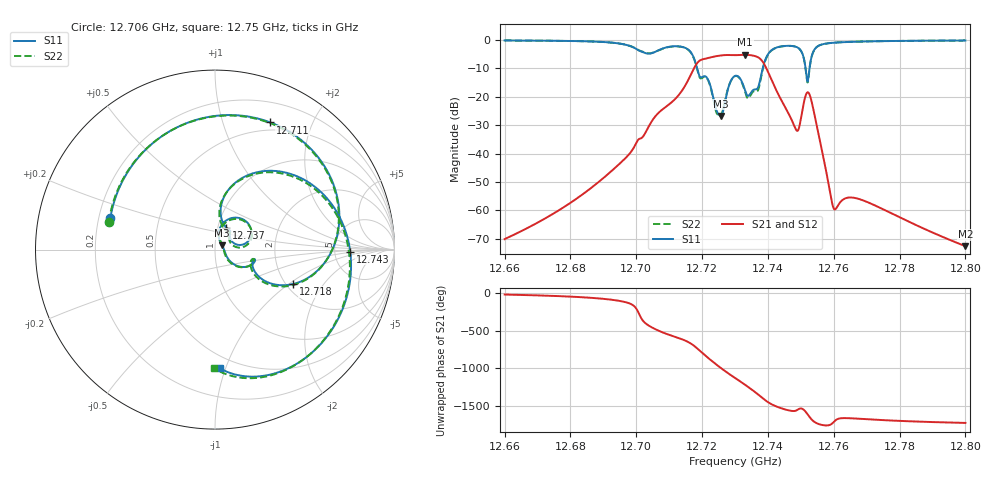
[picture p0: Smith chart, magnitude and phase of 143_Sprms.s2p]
! TOUCHSTONE file generated by CST MICROWAVE STUDIO
! Date and time: Wed Jul 31 18:02:35 2024
! Project name: WaveGuide_BPF-Ver4.1_U-shape_Ku_T3_C4_CWA_2.cst
! Parameters = {cavity_h=16; cavity_l0=10; cavity_l1=15.1994; cavity_l2=16.8686; cavity_l3=17.1122; cavity_l4=17.2451; cavity_l5=17.1239; cavity_l6=17.6385; cavity_r=2.5; cavity_screw_l=0.5; cavity_screw_r=1.5; cavity_w=8; iris_h00=0; iris_h01=8.8075; iris_h112=0; iris_h12=5.5972; iris_h211=3.6642; 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
! Header version: 2018
! Port assignment regex: !\s*Touchstone port\s*([0-9]+)\s*=\s*(CST MWS port|CST DS port)\s*([0-9]+|Zmin|Zmax)\s*\(\"(.*)\"\)(\s*mode\s*([0-9]+))?.*
! Touchstone port assignment:
! Touchstone port 1 = CST MWS port 1 ("")
! Touchstone port 2 = CST MWS port 2 ("")
# GHz S RI R 50
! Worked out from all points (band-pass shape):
!   5001 points, 12.66 GHz to 12.8 GHz, reference 50 ohm
!   highest |S21| = -5.21 dB at 12.733 GHz (marker M1); lowest = -72.6 dB at 12.8 GHz (marker M2)
!   |S21| within 3 dB of the highest: 12.71845 GHz to 12.73872 GHz (20.26 MHz wide, 0.159 % of centre)
!   lowest |S11| = -26.8 dB at 12.726 GHz (marker M3), VSWR 1.10, Z = 54 + j2.55 ohm
!   |S11| at or under -10 dB: 12.71848 GHz to 12.73843 GHz (19.95 MHz wide, 0.157 % of centre); 12.75144 GHz to 12.75263 GHz (1.191 MHz wide, 0.00934 % of centre)
!   |S22| runs from -26.5 to -0.2 dB; largest |S21 - S12| = 1e-09
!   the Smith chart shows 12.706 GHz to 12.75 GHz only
!   S11 on the Smith chart (normalised r, x): 12.706 GHz: 0.25, +0.14; 12.711 GHz: 0.41, +1.44; 12.718 GHz: 2.18, -1.08; 12.737 GHz: 1.10, +0.27; 12.743 GHz: 7.09, -0.38; 12.75 GHz: 0.41, -0.96
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12.66  0.2911 0.9371  0.000289 -0.000116  0.000289 -0.000116  0.3019 0.9336
12.68335  0.7264 0.6165  0.00101 -0.00155  0.00101 -0.00155  0.7378 0.602
12.69492  0.8619 -0.0812  -0.00182 -0.00635  -0.00182 -0.00635  0.8589 -0.1056
12.70057  0.2181 -0.6266  -0.00534 0.0166  -0.00534 0.0166  0.2071 -0.6366
12.7055  -0.5828 0.1763  -0.0174 -0.0394  -0.0174 -0.0394  -0.5911 0.1564
12.70668  -0.4699 0.4574  -0.0385 -0.0343  -0.0385 -0.0343  -0.4848 0.4399
12.71104  0.3078 0.7087  -0.0716 0.0417  -0.0716 0.0417  0.2964 0.7088
12.71754  0.4359 -0.1915  0.2971 0.112  0.2971 0.112  0.4243 -0.1998
12.72079  0.2218 -0.0648  -0.1062 -0.4539  -0.1062 -0.4539  0.216 -0.065
12.72317  0.0878 -0.0684  -0.4978 0.0708  -0.4978 0.0708  0.0809 -0.0678
12.72566  0.0394 0.0236  0.0219 0.5334  0.0219 0.5334  0.0392 0.0277
12.73  0.1676 0.1616  0.3797 -0.3848  0.3797 -0.3848  0.1759 0.1493
12.73308  0.126 0.0269  -0.3971 -0.3787  -0.3971 -0.3787  0.1195 0.0136
12.73672  0.0637 0.1224  -0.1424 0.4848  -0.1424 0.4848  0.0616 0.1079
12.73896  0.1299 0.3853  0.3272 0.1671  0.3272 0.1671  0.1219 0.3756
12.74319  0.7533 -0.0115  0.0314 -0.1048  0.0314 -0.1048  0.7486 -0.0345
12.74991  0.0271 -0.6613  0.000742 -0.0377  0.000742 -0.0377  -0.00568 -0.6611
12.75198  0.0386 -0.1828  -0.114 -0.0354  -0.114 -0.0354  0.025 -0.1792
12.75335  0.3953 -0.3525  -0.0412 0.0676  -0.0412 0.0676  0.3812 -0.36
12.7601  -0.2358 -0.8643  -0.000117 0.00105  -0.000117 0.00105  -0.2641 -0.8572
12.77668  -0.9029 -0.3191  -0.000364 0.000863  -0.000364 0.000863  -0.9099 -0.3008
12.8  -0.9539 0.2237  4.23e-05 0.00023  4.23e-05 0.00023  -0.9514 0.2356
